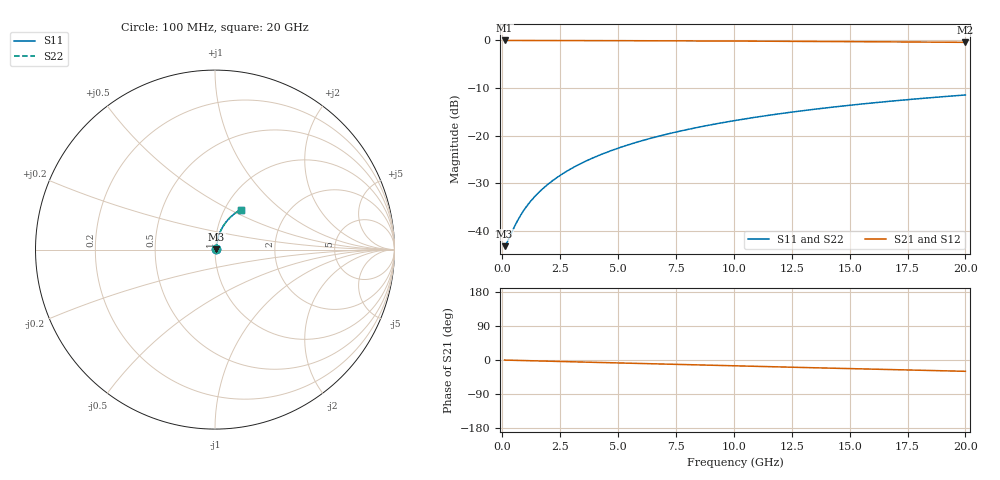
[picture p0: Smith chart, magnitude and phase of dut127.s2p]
! Touchstone file exported from HFSS 2026.1.0
!  File:  C:/ffzhzh/LocalFiles/Ansys_Project_Files/temp_train_TMRDL_127_1782982718_6248.aedt
!  Generated:  04:59:48 PM Jul  2, 2026
!  Design:  TMRDL
!  Project:  temp_train_TMRDL_127_1782982718_6248
! Variables:
!  h_bsmrdl = 2um
!  h_ox = 20um
!  h_rdl = 5um
!  h_sub = 80um
!  h_tmrdl = 2.17um
!  h_tsv = 80um
!  h_via = 3um
!  l_bsmrdl = 300um
!  l_sub = 852.24um
!  l_tmrdl = 452.24um
!  m_sub = 200um
!  pitch = 22.63um
!  r_tsv = 6um
!  s_tmrdl = 10um
!  w_bsmrdl = 18um
!  w_sub = 500um
!  w_tmrdl = 11.19um
!  x_tsv_center1 = 457.835um
!  x_tsv_center2 = 775.835um
!  x_tsv_center3 = 1239.265um
!  x_tsv_center4 = 1557.265um
!  x_tsv_center5 = 2020.695um
!  x_tsv_center6 = 2338.695um
# GHz S MA R 50.000000
! Terminal data exported
! Port[1] = TM_RDL1_1_T1
! Port[2] = TM_RDL1_1_T2
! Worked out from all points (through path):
!   200 points, 100 MHz to 20 GHz, reference 50 ohm
!   highest |S21| = -0.06 dB at 100 MHz (marker M1); lowest = -0.5 dB at 20 GHz (marker M2)
!   group delay of S21, straight-line fit = 4.15 ps
!   lowest |S11| = -43.2 dB at 100 MHz (marker M3), VSWR 1.01, Z = 50.7 + j0.165 ohm
!   |S11| at or under -10 dB: start of sweep to end of sweep
!   |S22| runs from -43.2 to -11.5 dB; largest |S21 - S12| = 3e-15
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0.1  0.006912 13.7  0.9933 -0.2  0.9933 -0.2  0.006912 13.7
! Gamma 0 0 0 0
! Port Impedance 50 0 50 0
0.2  0.007523 25.6  0.9932 -0.3  0.9932 -0.3  0.007523 25.6
0.6  0.01202 52.4  0.9928 -1.0  0.9928 -1.0  0.01202 52.4
0.8  0.01469 58.4  0.9925 -1.3  0.9925 -1.3  0.01469 58.4
0.9  0.01604 60.5  0.9924 -1.5  0.9924 -1.5  0.01604 60.5
1.1  0.01877 63.9  0.9921 -1.8  0.9921 -1.8  0.01877 63.9
1.4  0.02289 67.4  0.9918 -2.2  0.9918 -2.2  0.02289 67.4
1.8  0.02842 70.3  0.9914 -2.8  0.9914 -2.8  0.02842 70.3
2.3  0.03541 72.6  0.991 -3.6  0.991 -3.6  0.03541 72.6
2.9  0.04387 74.1  0.9905 -4.5  0.9905 -4.5  0.04387 74.1
3.5  0.05237 74.9  0.9899 -5.5  0.9899 -5.5  0.05237 74.9
4.2  0.06231 75.2  0.9891 -6.5  0.9891 -6.5  0.06231 75.2
5  0.07367 75.1  0.9881 -7.8  0.9881 -7.8  0.07367 75.1
5.9  0.08639 74.6  0.9869 -9.1  0.9869 -9.1  0.08639 74.6
6.8  0.09904 73.9  0.9854 -10.5  0.9854 -10.5  0.09903 73.9
8.3  0.1199 72.3  0.9826 -12.8  0.9826 -12.8  0.1199 72.3
10.1  0.1444 70.2  0.9787 -15.5  0.9787 -15.5  0.1444 70.2
11.7  0.1656 68.1  0.9747 -17.9  0.9747 -17.9  0.1656 68.1
13.4  0.1876 65.9  0.9701 -20.4  0.9701 -20.4  0.1876 65.9
15  0.2077 63.7  0.9654 -22.7  0.9654 -22.7  0.2076 63.8
16.7  0.2283 61.4  0.9601 -25.2  0.9601 -25.2  0.2283 61.5
20  0.2663 57.0  0.9492 -29.9  0.9492 -29.9  0.2663 57.0
